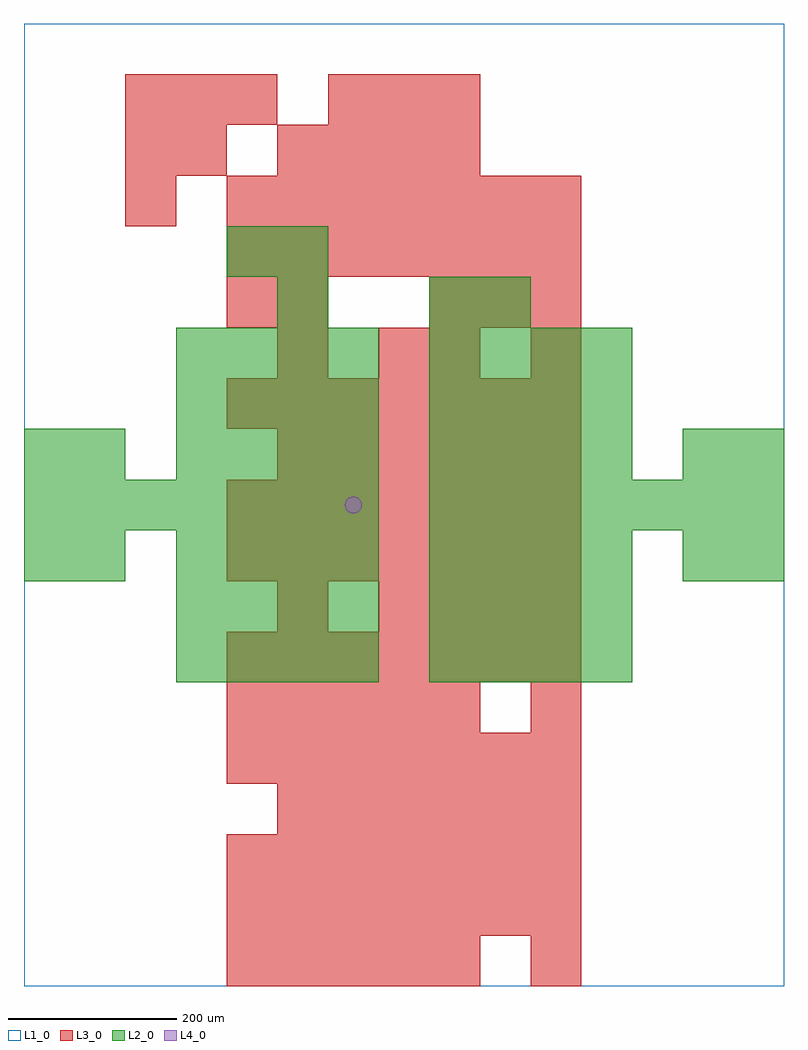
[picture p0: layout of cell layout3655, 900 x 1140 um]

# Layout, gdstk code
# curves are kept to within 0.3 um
import gdstk
lib = gdstk.Library(unit=1e-6, precision=1e-09)
def R(c, l, rs):  # rectangles x0, y0, x1, y1
    for r in rs: c.add(gdstk.rectangle(r[:2], r[2:], *l))
def A(c, l, x, y, w, h, nx, ny, dx, dy):  # array of equal rectangles
    R(c, l, [(x+i*dx, y+j*dy, x+i*dx+w, y+j*dy+h) for i in range(nx) for j in range(ny)])
def P(c, l, *ps):  # polygons
    for p in ps: c.add(gdstk.Polygon(p, *l))
L1_0 = (1, 0)
L2_0 = (2, 0)
L3_0 = (3, 0)
L4_0 = (4, 0)

layout3655 = lib.new_cell('layout3655')
R(layout3655, L1_0, [(0,0,900,1140)])
A(layout3655, L2_0, 180, 360, 60, 60, 4, 3, 60, 60)
A(layout3655, L2_0, 480, 360, 60, 60, 4, 3, 60, 60)
A(layout3655, L2_0, 0, 540, 60, 60, 7, 1, 60, 0)
A(layout3655, L2_0, 480, 540, 60, 60, 7, 1, 60, 0)
A(layout3655, L2_0, 180, 600, 60, 60, 4, 3, 60, 60)
A(layout3655, L2_0, 480, 600, 60, 60, 4, 3, 60, 60)
R(layout3655, L2_0, [(0,480,60,540), (60,480,120,540), (780,480,840,540), (840,480,900,540), (0,600,60,660), (60,600,120,660), (780,600,840,660), (840,600,900,660), (300,780,360,840), (480,780,540,840), (540,780,600,840), (240,840,300,900), (300,840,360,900)])
A(layout3655, L3_0, 240, 0, 60, 60, 5, 2, 60, 300)
A(layout3655, L3_0, 240, 60, 60, 60, 7, 2, 60, 60)
A(layout3655, L3_0, 300, 180, 60, 60, 6, 2, 60, 420)
A(layout3655, L3_0, 240, 240, 60, 60, 7, 3, 60, 120)
A(layout3655, L3_0, 420, 420, 60, 60, 4, 1, 60, 0)
A(layout3655, L3_0, 240, 540, 60, 60, 7, 2, 60, 120)
A(layout3655, L3_0, 480, 780, 60, 60, 3, 1, 60, 0)
A(layout3655, L3_0, 240, 840, 60, 60, 7, 2, 60, 60)
A(layout3655, L3_0, 300, 960, 60, 60, 4, 1, 60, 0)
A(layout3655, L3_0, 120, 1020, 60, 60, 3, 1, 60, 0)
A(layout3655, L3_0, 360, 1020, 60, 60, 3, 1, 60, 0)
R(layout3655, L3_0, [(600,0,660,60), (600,300,660,360), (300,420,360,480), (300,720,360,780), (420,720,480,780), (480,720,540,780), (600,720,660,780), (240,780,300,840), (300,780,360,840), (120,900,180,960), (120,960,180,1020), (180,960,240,1020)])
P(layout3655, L4_0, [(400,570),(399.239,573.827),(397.071,577.071),(393.827,579.239),(390,580),(386.173,579.239),(382.929,577.071),(380.761,573.827),(380,570),(380.761,566.173),(382.929,562.929),(386.173,560.761),(390,560),(393.827,560.761),(397.071,562.929),(399.239,566.173)])

lib.write_gds('layout3655.gds')
